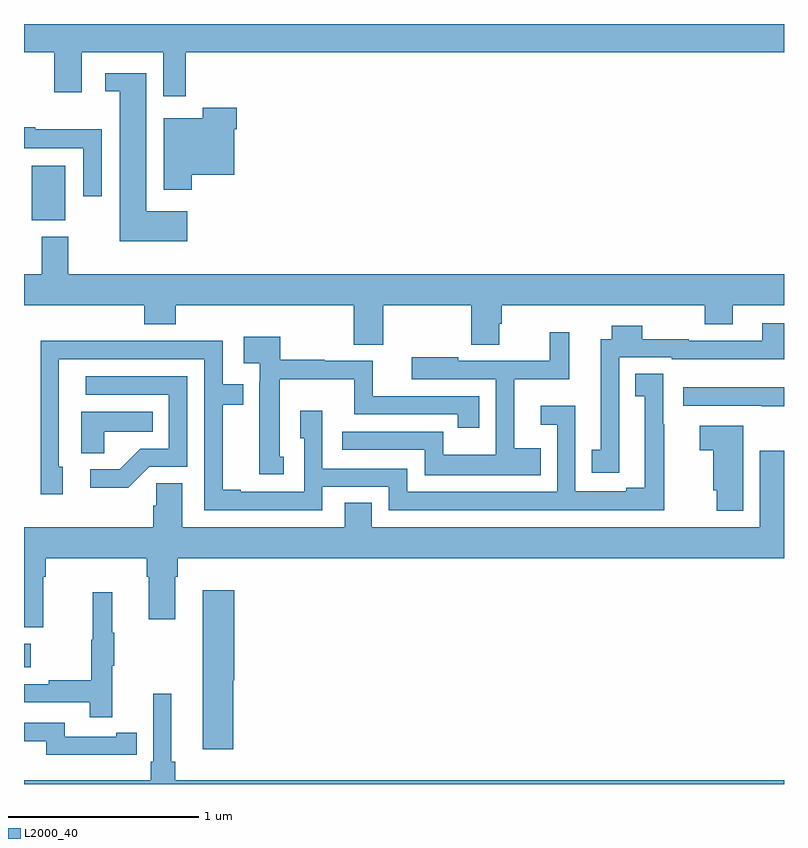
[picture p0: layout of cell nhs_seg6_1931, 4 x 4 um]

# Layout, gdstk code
import gdstk
lib = gdstk.Library(unit=1e-6, precision=1e-09)
def R(c, l, rs):  # rectangles x0, y0, x1, y1
    for r in rs: c.add(gdstk.rectangle(r[:2], r[2:], *l))
def P(c, l, *ps):  # polygons
    for p in ps: c.add(gdstk.Polygon(p, *l))
L2000_40 = (2000, 40)

nhs_seg6_1931 = lib.new_cell('nhs_seg6_1931')
R(nhs_seg6_1931, L2000_40, [(227,928.115,227.035,928.237), (227.042,930.467,227.218,930.754)])
P(nhs_seg6_1931, L2000_40, [(227.851,931.352),(231,931.352),(231,931.5),(227,931.5),(227,931.352),(227.158,931.352),(227.158,931.14),(227.305,931.14),(227.305,931.352),(227.732,931.352),(227.732,931.119),(227.851,931.119)],
  [(227.86,930.514),(227.644,930.514),(227.644,931.242),(227.427,931.242),(227.427,931.145),(227.504,931.145),(227.504,930.356),(227.86,930.356)],
  [(227.882,930.707),(228.106,930.707),(228.106,930.947),(228.119,930.947),(228.119,931.06),(227.941,931.06),(227.941,931.003),(227.735,931.003),(227.735,930.627),(227.882,930.627)],
  [(227.409,930.946),(227.06,930.946),(227.06,930.956),(227,930.956),(227,930.845),(227.313,930.845),(227.313,930.594),(227.409,930.594)],
  [(228.891,930.02),(229.354,930.02),(229.354,929.812),(229.501,929.812),(229.501,929.922),(229.514,929.922),(229.514,930.02),(230.584,930.02),(230.584,929.921),(230.731,929.921),(230.731,930.02),(231,930.02),(231,930.184),(227.233,930.184),(227.233,930.379),(227.093,930.379),(227.093,930.184),(227,930.184),(227,930.02),(227.633,930.02),(227.633,929.921),(227.798,929.921),(227.798,930.02),(228.736,930.02),(228.736,929.812),(228.891,929.812)],
  [(230.134,929.462),(230.133,929.462),(230.133,929.745),(230.409,929.745),(230.409,929.735),(231,929.735),(231,929.925),(230.885,929.925),(230.885,929.832),(230.499,929.832),(230.499,929.842),(230.253,929.842),(230.253,929.911),(230.093,929.911),(230.093,929.841),(230.036,929.841),(230.036,929.259),(229.987,929.259),(229.987,929.139),(230.134,929.139)],
  [(229.721,929.266),(229.579,929.266),(229.579,929.63),(229.87,929.63),(229.87,929.878),(229.768,929.878),(229.768,929.727),(229.285,929.727),(229.285,929.746),(229.041,929.746),(229.041,929.631),(229.482,929.631),(229.482,929.233),(229.206,929.233),(229.206,929.354),(229.103,929.354),(229.103,929.355),(228.675,929.355),(228.675,929.259),(229.11,929.259),(229.11,929.126),(229.721,929.126)],
  [(228.367,929.223),(228.346,929.223),(228.346,929.63),(228.737,929.63),(228.737,929.445),(229.284,929.445),(229.284,929.376),(229.397,929.376),(229.397,929.541),(228.836,929.541),(228.836,929.727),(228.582,929.727),(228.582,929.732),(228.349,929.732),(228.349,929.854),(228.156,929.854),(228.156,929.714),(228.24,929.714),(228.24,929.618),(228.239,929.618),(228.239,929.13),(228.367,929.13)],
  [(230.369,929.393),(230.364,929.393),(230.364,929.66),(230.218,929.66),(230.218,929.542),(230.267,929.542),(230.267,929.059),(230.171,929.059),(230.171,929.041),(229.902,929.041),(229.902,929.491),(229.719,929.491),(229.719,929.39),(229.806,929.39),(229.806,929.037),(229.017,929.037),(229.017,929.16),(228.57,929.16),(228.57,929.464),(228.455,929.464),(228.455,929.319),(228.474,929.319),(228.474,929.037),(228.142,929.037),(228.142,929.05),(228.047,929.05),(228.047,929.496),(228.154,929.496),(228.154,929.604),(228.045,929.604),(228.045,929.832),(227.549,929.832),(227.549,929.834),(227.088,929.834),(227.088,929.025),(227.203,929.025),(227.203,929.169),(227.184,929.169),(227.184,929.736),(227.949,929.736),(227.949,928.941),(228.57,928.941),(228.57,929.064),(228.921,929.064),(228.921,928.941),(229.909,928.941),(229.909,928.94),(230.369,928.94)],
  [(227.658,929.169),(227.859,929.169),(227.859,929.646),(227.325,929.646),(227.325,929.55),(227.763,929.55),(227.763,929.265),(227.613,929.265),(227.505,929.157),(227.349,929.157),(227.349,929.06),(227.548,929.06)],
  [(231,929.587),(230.469,929.587),(230.469,929.49),(230.881,929.49),(230.881,929.488),(231,929.488)],
  [(227.422,929.354),(227.678,929.354),(227.678,929.458),(227.3,929.458),(227.3,929.242),(227.422,929.242)],
  [(230.785,929.386),(230.556,929.386),(230.556,929.257),(230.627,929.257),(230.627,929.046),(230.645,929.046),(230.645,928.937),(230.785,928.937)],
  [(227.101,928.592),(227.114,928.592),(227.114,928.688),(227.645,928.688),(227.645,928.592),(227.657,928.592),(227.657,928.368),(227.797,928.368),(227.797,928.592),(227.81,928.592),(227.81,928.688),(231,928.688),(231,929.254),(230.873,929.254),(230.873,928.852),(228.829,928.852),(228.829,928.979),(228.689,928.979),(228.689,928.852),(227.833,928.852),(227.833,929.084),(227.695,929.084),(227.695,928.964),(227.681,928.964),(227.681,928.852),(227,928.852),(227,928.326),(227.101,928.326)],
  [(228.101,928.047),(228.106,928.047),(228.106,928.519),(227.942,928.519),(227.942,927.684),(228.101,927.684)],
  [(227.465,928.123),(227.476,928.123),(227.476,928.297),(227.465,928.297),(227.465,928.51),(227.362,928.51),(227.362,928.26),(227.355,928.26),(227.355,928.046),(227.131,928.046),(227.131,928.026),(227,928.026),(227,927.93),(227.347,927.93),(227.347,927.852),(227.465,927.852)],
  [(231,927.52),(227.795,927.52),(227.795,927.616),(227.776,927.616),(227.776,927.976),(227.679,927.976),(227.679,927.616),(227.666,927.616),(227.666,927.52),(227,927.52),(227,927.5),(231,927.5)],
  [(227.486,927.654),(227.594,927.654),(227.594,927.77),(227.486,927.77),(227.486,927.75),(227.214,927.75),(227.214,927.822),(227,927.822),(227,927.726),(227.118,927.726),(227.118,927.653),(227.486,927.653)])

lib.write_gds('nhs_seg6_1931.gds')
